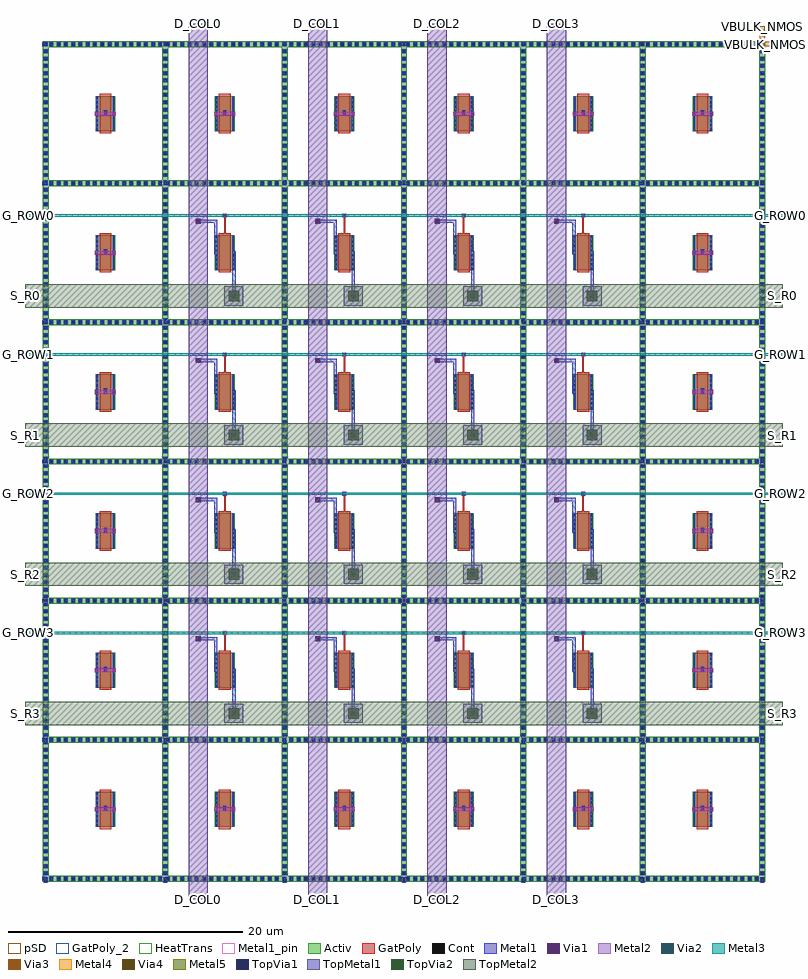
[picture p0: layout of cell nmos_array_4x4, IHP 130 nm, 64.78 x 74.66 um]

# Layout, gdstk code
import gdstk
lib = gdstk.Library(unit=1e-6, precision=1e-09)
def R(c, l, rs):  # rectangles x0, y0, x1, y1
    for r in rs: c.add(gdstk.rectangle(r[:2], r[2:], *l))
def A(c, l, x, y, w, h, nx, ny, dx, dy):  # array of equal rectangles
    R(c, l, [(x+i*dx, y+j*dy, x+i*dx+w, y+j*dy+h) for i in range(nx) for j in range(ny)])
Activ = (1, 0)
GatPoly = (5, 0)
GatPoly_2 = (5, 2)
Cont = (6, 0)
Metal1 = (8, 0)
Metal1_pin = (8, 2)
Metal2 = (10, 0)
pSD = (14, 0)
Via1 = (19, 0)
Via2 = (29, 0)
Metal3 = (30, 0)
Via3 = (49, 0)
Metal4 = (50, 0)
HeatTrans = (51, 0)
Via4 = (66, 0)
Metal5 = (67, 0)
TopVia1 = (125, 0)
TopMetal1 = (126, 0)
TopVia2 = (133, 0)
TopMetal2 = (134, 0)

nmos = lib.new_cell('nmos')
R(nmos, Activ, [(0,0,0.3,0.3), (0,0,1.68,3), (1.38,0,1.68,0.3)])
R(nmos, GatPoly, [(0.34,-0.18,1.34,3.18)])
R(nmos, GatPoly_2, [(0.34,-0.18,1.34,3.18)])
A(nmos, Cont, 0.07, 0.07, 0.16, 0.16, 1, 7, 0, 0.385)
A(nmos, Cont, 1.45, 0.07, 0.16, 0.16, 1, 7, 0, 0.385)
R(nmos, Cont, [(0.07,2.77,0.23,2.93), (1.45,2.77,1.61,2.93)])
R(nmos, Metal1, [(0.07,0,0.23,3), (1.45,0,1.61,3)])
R(nmos, Metal1_pin, [(0.07,0,0.23,3), (1.45,0,1.61,3)])
R(nmos, HeatTrans, [(0.34,-0.18,1.34,3.18)])
nmos.add(gdstk.Label('nmos', (0.84,1.5), layer=63, texttype=0))
nmos.add(gdstk.Label('nmos', (0.84,1.5), layer=51, texttype=0))

nmos_array_4x4 = lib.new_cell('nmos_array_4x4')
A(nmos_array_4x4, Activ, 0, 0, 0.5, 71.66, 7, 1, 10.18, 0)
A(nmos_array_4x4, Activ, 0, 0, 61.58, 0.5, 1, 7, 0, 11.86)
A(nmos_array_4x4, GatPoly, 5.275, 6.18, 0.13, 0.3, 6, 2, 10.18, 59.3)
A(nmos_array_4x4, GatPoly, 5.275, 18.04, 0.13, 0.3, 1, 4, 0, 11.86)
A(nmos_array_4x4, GatPoly, 56.175, 18.04, 0.13, 0.3, 1, 4, 0, 11.86)
A(nmos_array_4x4, GatPoly, 15.455, 19.72, 0.13, 1.5, 4, 4, 10.18, 11.86)
A(nmos_array_4x4, Cont, 0.14, 0, 0.22, 0.22, 7, 115, 10.18, 0.62)
A(nmos_array_4x4, Cont, 0, 0.14, 0.22, 0.22, 1, 7, 0, 11.86)
A(nmos_array_4x4, Cont, 0.14, 0.14, 0.22, 0.22, 1, 7, 0, 11.86)
A(nmos_array_4x4, Cont, 0.62, 0.14, 0.22, 0.22, 16, 7, 0.62, 11.86)
A(nmos_array_4x4, Cont, 10.32, 0.14, 0.22, 0.22, 1, 7, 0, 11.86)
A(nmos_array_4x4, Cont, 10.54, 0.14, 0.22, 0.22, 17, 7, 0.62, 11.86)
A(nmos_array_4x4, Cont, 20.5, 0.14, 0.22, 0.22, 1, 7, 0, 11.86)
A(nmos_array_4x4, Cont, 21.08, 0.14, 0.22, 0.22, 16, 7, 0.62, 11.86)
A(nmos_array_4x4, Cont, 30.68, 0.14, 0.22, 0.22, 1, 7, 0, 11.86)
A(nmos_array_4x4, Cont, 31, 0.14, 0.22, 0.22, 16, 7, 0.62, 11.86)
A(nmos_array_4x4, Cont, 40.86, 0.14, 0.22, 0.22, 1, 7, 0, 11.86)
A(nmos_array_4x4, Cont, 40.92, 0.14, 0.22, 0.22, 17, 7, 0.62, 11.86)
A(nmos_array_4x4, Cont, 51.04, 0.14, 0.22, 0.22, 1, 7, 0, 11.86)
A(nmos_array_4x4, Cont, 51.46, 0.14, 0.22, 0.22, 16, 7, 0.62, 11.86)
A(nmos_array_4x4, Cont, 61.22, 0.14, 0.22, 0.22, 1, 7, 0, 11.86)
A(nmos_array_4x4, Cont, 5.23, 6.26, 0.22, 0.22, 6, 2, 10.18, 59.3)
A(nmos_array_4x4, Cont, 5.23, 18.12, 0.22, 0.22, 1, 4, 0, 11.86)
A(nmos_array_4x4, Cont, 56.13, 18.12, 0.22, 0.22, 1, 4, 0, 11.86)
A(nmos_array_4x4, Cont, 15.41, 21.11, 0.22, 0.22, 4, 4, 10.18, 11.86)
R(nmos_array_4x4, Cont, [(0.14,71.3,0.36,71.52), (10.32,71.3,10.54,71.52), (20.5,71.3,20.72,71.52), (30.68,71.3,30.9,71.52), (40.86,71.3,41.08,71.52), (51.04,71.3,51.26,71.52), (61.22,71.3,61.44,71.52)])
A(nmos_array_4x4, Metal1, 0.08, -0.06, 0.34, 0.34, 7, 115, 10.18, 0.62)
A(nmos_array_4x4, Metal1, -0.06, 0.08, 0.34, 0.34, 99, 6, 0.62, 11.86)
A(nmos_array_4x4, Metal1, 0.09, 0.09, 0.32, 0.32, 7, 7, 10.18, 11.86)
A(nmos_array_4x4, Metal1, 5.2, 6, 0.28, 0.48, 6, 2, 10.18, 59.3)
A(nmos_array_4x4, Metal1, 16.15, 14.22, 0.28, 3.96, 4, 4, 10.18, 11.86)
A(nmos_array_4x4, Metal1, 5.2, 17.86, 0.28, 0.48, 1, 4, 0, 11.86)
A(nmos_array_4x4, Metal1, 56.1, 17.86, 0.28, 0.48, 1, 4, 0, 11.86)
A(nmos_array_4x4, Metal1, 14.61, 17.9, 0.28, 2.96, 4, 4, 10.18, 11.86)
A(nmos_array_4x4, Metal1, 13.11, 20.58, 1.78, 0.28, 4, 4, 10.18, 11.86)
A(nmos_array_4x4, Metal1, 15.36, 21.06, 0.32, 0.32, 4, 4, 10.18, 11.86)
A(nmos_array_4x4, Metal1, 0.56, 71.24, 0.34, 0.34, 16, 1, 0.62, 0)
A(nmos_array_4x4, Metal1, 10.48, 71.24, 0.34, 0.34, 17, 1, 0.62, 0)
A(nmos_array_4x4, Metal1, 21.02, 71.24, 0.34, 0.34, 16, 1, 0.62, 0)
A(nmos_array_4x4, Metal1, 30.94, 71.24, 0.34, 0.34, 16, 1, 0.62, 0)
A(nmos_array_4x4, Metal1, 40.86, 71.24, 0.34, 0.34, 17, 1, 0.62, 0)
A(nmos_array_4x4, Metal1, 51.4, 71.24, 0.34, 0.34, 16, 1, 0.62, 0)
R(nmos_array_4x4, Metal1, [(-0.06,71.24,0.28,71.58), (0.08,71.24,0.42,71.58), (10.26,71.24,10.6,71.58), (20.44,71.24,20.78,71.58), (30.62,71.24,30.96,71.58), (40.8,71.24,41.14,71.58), (50.98,71.24,51.32,71.58), (61.16,71.24,61.5,71.58)])
A(nmos_array_4x4, Metal2, 4.45, 6, 1.78, 0.36, 6, 2, 10.18, 59.3)
A(nmos_array_4x4, Metal2, 16.135, 14.205, 0.31, 0.31, 4, 4, 10.18, 11.86)
A(nmos_array_4x4, Metal2, 4.45, 17.86, 1.78, 0.36, 1, 4, 0, 11.86)
A(nmos_array_4x4, Metal2, 55.35, 17.86, 1.78, 0.36, 1, 4, 0, 11.86)
A(nmos_array_4x4, Metal2, 13.095, 20.565, 0.31, 0.31, 4, 4, 10.18, 11.86)
A(nmos_array_4x4, Metal2, 15.375, 21.075, 0.29, 0.29, 4, 4, 10.18, 11.86)
R(nmos_array_4x4, Metal2, [(61.15,71.23,61.51,71.59)])
A(nmos_array_4x4, pSD, 0, 0, 0.5, 71.66, 7, 1, 10.18, 0)
A(nmos_array_4x4, pSD, 0, 0, 61.58, 0.5, 1, 7, 0, 11.86)
A(nmos_array_4x4, Via1, 4.555, 6.085, 0.19, 0.19, 3, 6, 0.69, 11.86)
A(nmos_array_4x4, Via1, 14.735, 6.085, 0.19, 0.19, 3, 2, 0.69, 59.3)
A(nmos_array_4x4, Via1, 24.915, 6.085, 0.19, 0.19, 3, 2, 0.69, 59.3)
A(nmos_array_4x4, Via1, 35.095, 6.085, 0.19, 0.19, 3, 2, 0.69, 59.3)
A(nmos_array_4x4, Via1, 45.275, 6.085, 0.19, 0.19, 3, 2, 0.69, 59.3)
A(nmos_array_4x4, Via1, 55.455, 6.085, 0.19, 0.19, 3, 6, 0.69, 11.86)
A(nmos_array_4x4, Via1, 16.195, 14.265, 0.19, 0.19, 4, 4, 10.18, 11.86)
A(nmos_array_4x4, Via1, 13.155, 20.625, 0.19, 0.19, 4, 4, 10.18, 11.86)
A(nmos_array_4x4, Via1, 15.425, 21.125, 0.19, 0.19, 4, 4, 10.18, 11.86)
R(nmos_array_4x4, Via1, [(61.235,71.315,61.425,71.505)])
A(nmos_array_4x4, Via2, 16.195, 14.265, 0.19, 0.19, 4, 4, 10.18, 11.86)
A(nmos_array_4x4, Via2, 13.155, 20.625, 0.19, 0.19, 4, 4, 10.18, 11.86)
A(nmos_array_4x4, Via2, 15.425, 21.125, 0.19, 0.19, 4, 4, 10.18, 11.86)
R(nmos_array_4x4, Via2, [(61.235,71.315,61.425,71.505)])
A(nmos_array_4x4, Metal3, 16.135, 14.205, 0.31, 0.31, 4, 4, 10.18, 11.86)
A(nmos_array_4x4, Metal3, 13.095, 20.565, 0.31, 0.31, 4, 4, 10.18, 11.86)
A(nmos_array_4x4, Metal3, -1.6, 21.12, 64.78, 0.2, 1, 4, 0, 11.86)
A(nmos_array_4x4, Metal3, 15.42, 21.12, 0.2, 0.2, 4, 4, 10.18, 11.86)
R(nmos_array_4x4, Metal3, [(61.23,71.31,61.43,71.51)])
A(nmos_array_4x4, Via3, 16.195, 14.265, 0.19, 0.19, 4, 4, 10.18, 11.86)
A(nmos_array_4x4, Via3, 13.155, 20.625, 0.19, 0.19, 4, 4, 10.18, 11.86)
R(nmos_array_4x4, Via3, [(61.235,71.315,61.425,71.505)])
A(nmos_array_4x4, Metal4, 16.135, 14.205, 0.31, 0.31, 4, 4, 10.18, 11.86)
A(nmos_array_4x4, Metal4, 13.095, 20.565, 0.31, 0.31, 4, 4, 10.18, 11.86)
R(nmos_array_4x4, Metal4, [(61.13,71.21,62.83,71.61), (61.13,71.21,61.53,72.91)])
A(nmos_array_4x4, Via4, 16.195, 14.265, 0.19, 0.19, 4, 4, 10.18, 11.86)
A(nmos_array_4x4, Via4, 13.155, 20.625, 0.19, 0.19, 4, 4, 10.18, 11.86)
A(nmos_array_4x4, Metal5, 16.135, 14.205, 0.31, 0.31, 4, 4, 10.18, 11.86)
A(nmos_array_4x4, Metal5, 13.095, 20.565, 0.31, 0.31, 4, 4, 10.18, 11.86)
A(nmos_array_4x4, TopVia1, 16.08, 14.15, 0.42, 0.42, 4, 4, 10.18, 11.86)
A(nmos_array_4x4, TopVia1, 13.04, 20.51, 0.42, 0.42, 4, 4, 10.18, 11.86)
A(nmos_array_4x4, TopMetal1, 12.431, -1.5, 1.638, 74.66, 4, 1, 10.18, 0)
A(nmos_array_4x4, TopMetal1, 15.471, 13.541, 1.638, 1.638, 4, 4, 10.18, 11.86)
A(nmos_array_4x4, TopMetal1, 12.431, 19.901, 1.638, 1.638, 4, 4, 10.18, 11.86)
A(nmos_array_4x4, TopVia2, 15.84, 13.91, 0.9, 0.9, 4, 4, 10.18, 11.86)
A(nmos_array_4x4, TopMetal2, -1.5, 13.36, 64.58, 2, 1, 4, 0, 11.86)
A(nmos_array_4x4, TopMetal2, 15.29, 13.36, 2, 2, 4, 4, 10.18, 11.86)
nmos_array_4x4.add(gdstk.Reference(nmos, (4.5,4.68)))
nmos_array_4x4.add(gdstk.Reference(nmos, (14.68,4.68)))
nmos_array_4x4.add(gdstk.Reference(nmos, (24.86,4.68)))
nmos_array_4x4.add(gdstk.Reference(nmos, (35.04,4.68)))
nmos_array_4x4.add(gdstk.Reference(nmos, (45.22,4.68)))
nmos_array_4x4.add(gdstk.Reference(nmos, (55.4,4.68)))
nmos_array_4x4.add(gdstk.Reference(nmos, (4.5,16.54)))
nmos_array_4x4.add(gdstk.Reference(nmos, (14.68,16.54)))
nmos_array_4x4.add(gdstk.Reference(nmos, (24.86,16.54)))
nmos_array_4x4.add(gdstk.Reference(nmos, (35.04,16.54)))
nmos_array_4x4.add(gdstk.Reference(nmos, (45.22,16.54)))
nmos_array_4x4.add(gdstk.Reference(nmos, (55.4,16.54)))
nmos_array_4x4.add(gdstk.Reference(nmos, (4.5,28.4)))
nmos_array_4x4.add(gdstk.Reference(nmos, (14.68,28.4)))
nmos_array_4x4.add(gdstk.Reference(nmos, (24.86,28.4)))
nmos_array_4x4.add(gdstk.Reference(nmos, (35.04,28.4)))
nmos_array_4x4.add(gdstk.Reference(nmos, (45.22,28.4)))
nmos_array_4x4.add(gdstk.Reference(nmos, (55.4,28.4)))
nmos_array_4x4.add(gdstk.Reference(nmos, (4.5,40.26)))
nmos_array_4x4.add(gdstk.Reference(nmos, (14.68,40.26)))
nmos_array_4x4.add(gdstk.Reference(nmos, (24.86,40.26)))
nmos_array_4x4.add(gdstk.Reference(nmos, (35.04,40.26)))
nmos_array_4x4.add(gdstk.Reference(nmos, (45.22,40.26)))
nmos_array_4x4.add(gdstk.Reference(nmos, (55.4,40.26)))
nmos_array_4x4.add(gdstk.Reference(nmos, (4.5,52.12)))
nmos_array_4x4.add(gdstk.Reference(nmos, (14.68,52.12)))
nmos_array_4x4.add(gdstk.Reference(nmos, (24.86,52.12)))
nmos_array_4x4.add(gdstk.Reference(nmos, (35.04,52.12)))
nmos_array_4x4.add(gdstk.Reference(nmos, (45.22,52.12)))
nmos_array_4x4.add(gdstk.Reference(nmos, (55.4,52.12)))
nmos_array_4x4.add(gdstk.Reference(nmos, (4.5,63.98)))
nmos_array_4x4.add(gdstk.Reference(nmos, (14.68,63.98)))
nmos_array_4x4.add(gdstk.Reference(nmos, (24.86,63.98)))
nmos_array_4x4.add(gdstk.Reference(nmos, (35.04,63.98)))
nmos_array_4x4.add(gdstk.Reference(nmos, (45.22,63.98)))
nmos_array_4x4.add(gdstk.Reference(nmos, (55.4,63.98)))
nmos_array_4x4.add(gdstk.Label('VBULK_NMOS', (62.83,71.41), layer=63, texttype=0))
nmos_array_4x4.add(gdstk.Label('VBULK_NMOS', (61.33,72.91), layer=63, texttype=0))
nmos_array_4x4.add(gdstk.Label('G_ROW3', (-1.5,21.22), layer=63, texttype=0))
nmos_array_4x4.add(gdstk.Label('G_ROW3', (63.08,21.22), layer=63, texttype=0))
nmos_array_4x4.add(gdstk.Label('G_ROW2', (-1.5,33.08), layer=63, texttype=0))
nmos_array_4x4.add(gdstk.Label('G_ROW2', (63.08,33.08), layer=63, texttype=0))
nmos_array_4x4.add(gdstk.Label('G_ROW1', (-1.5,44.94), layer=63, texttype=0))
nmos_array_4x4.add(gdstk.Label('G_ROW1', (63.08,44.94), layer=63, texttype=0))
nmos_array_4x4.add(gdstk.Label('G_ROW0', (-1.5,56.8), layer=63, texttype=0))
nmos_array_4x4.add(gdstk.Label('G_ROW0', (63.08,56.8), layer=63, texttype=0))
nmos_array_4x4.add(gdstk.Label('D_COL0', (13.25,-1.5), layer=63, texttype=0))
nmos_array_4x4.add(gdstk.Label('D_COL0', (13.25,73.16), layer=63, texttype=0))
nmos_array_4x4.add(gdstk.Label('D_COL1', (23.43,-1.5), layer=63, texttype=0))
nmos_array_4x4.add(gdstk.Label('D_COL1', (23.43,73.16), layer=63, texttype=0))
nmos_array_4x4.add(gdstk.Label('D_COL2', (33.61,-1.5), layer=63, texttype=0))
nmos_array_4x4.add(gdstk.Label('D_COL2', (33.61,73.16), layer=63, texttype=0))
nmos_array_4x4.add(gdstk.Label('D_COL3', (43.79,-1.5), layer=63, texttype=0))
nmos_array_4x4.add(gdstk.Label('D_COL3', (43.79,73.16), layer=63, texttype=0))
nmos_array_4x4.add(gdstk.Label('S_R3', (-1.5,14.36), layer=63, texttype=0))
nmos_array_4x4.add(gdstk.Label('S_R3', (63.08,14.36), layer=63, texttype=0))
nmos_array_4x4.add(gdstk.Label('S_R2', (-1.5,26.22), layer=63, texttype=0))
nmos_array_4x4.add(gdstk.Label('S_R2', (63.08,26.22), layer=63, texttype=0))
nmos_array_4x4.add(gdstk.Label('S_R1', (-1.5,38.08), layer=63, texttype=0))
nmos_array_4x4.add(gdstk.Label('S_R1', (63.08,38.08), layer=63, texttype=0))
nmos_array_4x4.add(gdstk.Label('S_R0', (-1.5,49.94), layer=63, texttype=0))
nmos_array_4x4.add(gdstk.Label('S_R0', (63.08,49.94), layer=63, texttype=0))

lib.write_gds('nmos_array_4x4.gds')
